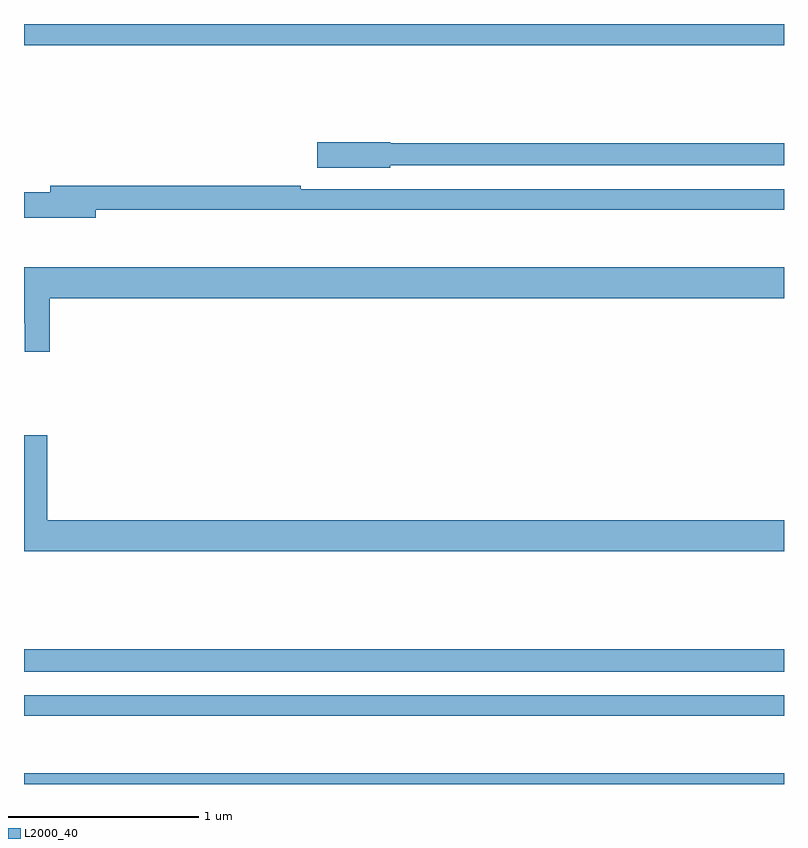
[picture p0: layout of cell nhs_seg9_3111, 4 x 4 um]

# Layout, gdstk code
import gdstk
lib = gdstk.Library(unit=1e-6, precision=1e-09)
def R(c, l, rs):  # rectangles x0, y0, x1, y1
    for r in rs: c.add(gdstk.rectangle(r[:2], r[2:], *l))
def P(c, l, *ps):  # polygons
    for p in ps: c.add(gdstk.Polygon(p, *l))
L2000_40 = (2000, 40)

nhs_seg9_3111 = lib.new_cell('nhs_seg9_3111')
R(nhs_seg9_3111, L2000_40, [(289,1224.5,293,1224.556), (289,1224.858,293,1224.966), (289,1225.092,293,1225.208), (289,1228.388,293,1228.5)])
P(nhs_seg9_3111, L2000_40, [(290.928,1227.756),(293,1227.756),(293,1227.872),(290.928,1227.872),(290.928,1227.878),(290.544,1227.878),(290.544,1227.743),(290.928,1227.743)],
  [(289.378,1227.522),(293,1227.522),(293,1227.63),(290.456,1227.63),(290.456,1227.65),(289.139,1227.65),(289.139,1227.614),(289,1227.614),(289,1227.479),(289.378,1227.479)],
  [(289.136,1227.056),(293,1227.056),(293,1227.22),(289,1227.22),(289,1226.924),(289.004,1226.924),(289.004,1226.775),(289.136,1226.775)],
  [(293,1225.888),(289.123,1225.888),(289.123,1226.335),(289.001,1226.335),(289.001,1225.888),(289,1225.888),(289,1225.724),(293,1225.724)])

lib.write_gds('nhs_seg9_3111.gds')
